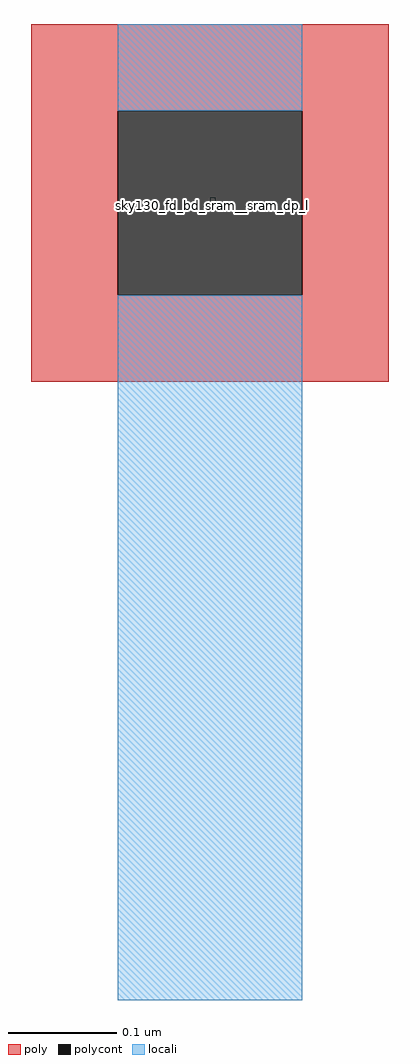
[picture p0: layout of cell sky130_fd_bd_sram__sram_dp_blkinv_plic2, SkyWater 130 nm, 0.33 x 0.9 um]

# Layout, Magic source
magic
tech sky130A
magscale 1 2
<< poly >>
rect 2 179 68 195
rect 2 145 18 179
rect 52 145 68 179
rect 2 129 68 145
<< polycont >>
rect 18 145 52 179
<< locali >>
rect 18 179 52 195
rect 18 15 52 145
use sky130_fd_bd_sram__sram_dp_licon_1  sky130_fd_bd_sram__sram_dp_licon_1_0
transform 1 0 35 0 1 162
box 0 -1 1 1
<< properties >>
string GDS_FILE sky130_fd_bd_sram__sram_dp_blkinv_plic2.gds
string GDS_END 756
string GDS_START 502
<< end >>

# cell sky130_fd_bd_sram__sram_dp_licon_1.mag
magic
tech sky130A
magscale 1 2
use sky130_fd_bd_sram__sram_dp_licon_05  sky130_fd_bd_sram__sram_dp_licon_05_0
transform 1 0 0 0 -1 0
box 0 0 1 1
use sky130_fd_bd_sram__sram_dp_licon_05  sky130_fd_bd_sram__sram_dp_licon_05_1
transform 1 0 0 0 1 0
box 0 0 1 1
<< properties >>
string GDS_FILE sky130_fd_bd_sram__sram_dp_licon_1.gds
string GDS_END 424
string GDS_START 294
<< end >>
